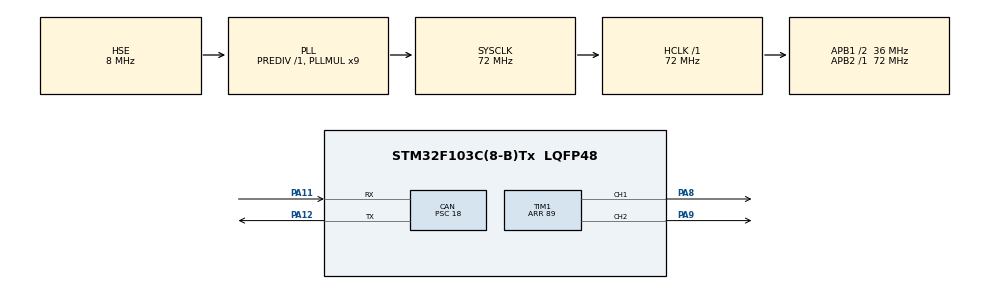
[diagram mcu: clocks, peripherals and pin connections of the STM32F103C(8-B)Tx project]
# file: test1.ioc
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CAN.BS1=CAN_BS1_2TQ
CAN.CalculateBaudRate=500000
CAN.CalculateTimeBit=2000
CAN.CalculateTimeQuantum=500.0
CAN.Prescaler=18
Dma.Request0=TIM1_CH1
Dma.Request1=TIM1_CH2
Dma.TIM1_CH1.0.Direction=DMA_MEMORY_TO_PERIPH
Dma.TIM1_CH1.0.Instance=DMA1_Channel2
Dma.TIM1_CH1.0.MemDataAlignment=DMA_MDATAALIGN_HALFWORD
Dma.TIM1_CH1.0.MemInc=DMA_MINC_ENABLE
Dma.TIM1_CH1.0.Mode=DMA_NORMAL
Dma.TIM1_CH1.0.PeriphDataAlignment=DMA_PDATAALIGN_HALFWORD
Dma.TIM1_CH1.0.PeriphInc=DMA_PINC_DISABLE
Dma.TIM1_CH1.0.Priority=DMA_PRIORITY_LOW
Dma.TIM1_CH2.1.Direction=DMA_MEMORY_TO_PERIPH
Dma.TIM1_CH2.1.Instance=DMA1_Channel3
Dma.TIM1_CH2.1.MemDataAlignment=DMA_MDATAALIGN_HALFWORD
Dma.TIM1_CH2.1.MemInc=DMA_MINC_ENABLE
Dma.TIM1_CH2.1.Mode=DMA_NORMAL
Dma.TIM1_CH2.1.PeriphDataAlignment=DMA_PDATAALIGN_HALFWORD
Dma.TIM1_CH2.1.PeriphInc=DMA_PINC_DISABLE
Dma.TIM1_CH2.1.Priority=DMA_PRIORITY_LOW
Mcu.Family=STM32F1
Mcu.Name=STM32F103C(8-B)Tx
Mcu.Package=LQFP48
NVIC.CAN1_RX1_IRQn=true\:1\:0\:true\:false\:true\:true\:true\:true
NVIC.DMA1_Channel2_IRQn=true\:0\:0\:false\:false\:true\:false\:true\:true
NVIC.DMA1_Channel3_IRQn=true\:0\:0\:false\:false\:true\:false\:true\:true
NVIC.PriorityGroup=NVIC_PRIORITYGROUP_4
NVIC.TIM2_IRQn=true\:0\:0\:false\:false\:true\:true\:true\:true
PA11.Mode=CAN_Activate
PA11.Signal=CAN_RX
PA12.Mode=CAN_Activate
PA12.Signal=CAN_TX
PA13.Mode=Serial_Wire
PA13.Signal=SYS_JTMS-SWDIO
PA14.Mode=Serial_Wire
PA14.Signal=SYS_JTCK-SWCLK
PA8.Signal=S_TIM1_CH1
PA9.Signal=S_TIM1_CH2
PD0-OSC_IN.Mode=HSE-External-Oscillator
PD0-OSC_IN.Signal=RCC_OSC_IN
PD1-OSC_OUT.Mode=HSE-External-Oscillator
PD1-OSC_OUT.Signal=RCC_OSC_OUT
ProjectManager.HeapSize=0x200
ProjectManager.StackSize=0x400
ProjectManager.TargetToolchain=MDK-ARM V5.32
RCC.AHBFreq_Value=72000000
RCC.APB1CLKDivider=RCC_HCLK_DIV2
RCC.APB1Freq_Value=36000000
RCC.APB1TimFreq_Value=72000000
RCC.APB2Freq_Value=72000000
RCC.APB2TimFreq_Value=72000000
RCC.HCLKFreq_Value=72000000
RCC.PLLMUL=RCC_PLL_MUL9
RCC.PLLSourceVirtual=RCC_PLLSOURCE_HSE
RCC.SYSCLKFreq_VALUE=72000000
RCC.SYSCLKSource=RCC_SYSCLKSOURCE_PLLCLK
RCC.USBFreq_Value=72000000
SH.S_TIM1_CH1.0=TIM1_CH1,PWM Generation1 CH1
SH.S_TIM1_CH2.0=TIM1_CH2,PWM Generation2 CH2
TIM1.Channel-PWM\ Generation1\ CH1=TIM_CHANNEL_1
TIM1.Channel-PWM\ Generation2\ CH2=TIM_CHANNEL_2
TIM1.Period=89
TIM2.Period=999
TIM2.Prescaler=7199
VP_TIM1_VS_ClockSourceINT.Mode=Internal
VP_TIM2_VS_ClockSourceINT.Mode=Internal
board=custom

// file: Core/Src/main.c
/* USER CODE BEGIN Header */
/**
  ******************************************************************************
  * @file           : main.c
  * @brief          : Main program body
  ******************************************************************************
  * @attention
  *
  * Copyright (c) 2024 STMicroelectronics.
  * All rights reserved.
  *
  * This software is licensed under terms that can be found in the LICENSE file
  * in the root directory of this software component.
  * If no LICENSE file comes with this software, it is provided AS-IS.
  *
  ******************************************************************************
  */
/* USER CODE END Header */
#include "main.h"

/* USER CODE BEGIN Includes */
#include "math.h"
#include "flash.h"
/* USER CODE END Includes */

/* USER CODE BEGIN PD */
#define PI 3.14159265
#define MAX_LED 350
#define MAX_LED1 300
#define MAX_LED2 50
/* USER CODE END PD */

CAN_HandleTypeDef hcan;

TIM_HandleTypeDef htim1;
TIM_HandleTypeDef htim2;
DMA_HandleTypeDef hdma_tim1_ch1;
DMA_HandleTypeDef hdma_tim1_ch2;

void SystemClock_Config(void);
static void MX_GPIO_Init(void);
static void MX_DMA_Init(void);
static void MX_TIM1_Init(void);
static void MX_CAN_Init(void);
static void MX_TIM2_Init(void);

/* USER CODE BEGIN 0 */
uint8_t LED_Data[MAX_LED][4];
uint16_t pwmData1[(24*MAX_LED1)+40]; 			// front_left, front_right, right, back_right, back, back_left, left
uint16_t pwmData2[(24*MAX_LED2)+40];			// flag
uint8_t numLEDs[8];
uint8_t data[8];
volatile uint8_t datasentflag1=0, datasentflag2=0;
uint16_t effStep[8] = {0,0,0,0,0,0,0};
uint8_t color_Manual[3]={3,221,255}, color_Auto[3]={0,255,0}, color_Turn[3]={255,192,0},color1[3] ={255,165,0}, color_Error[3]={255,0,0}, color_Off[3]={0,0,0}, color_White[3]={255,255,255};
void HAL_TIM_PWM_PulseFinishedCallback(TIM_HandleTypeDef *htim){
  if (htim->Instance == TIM1)
  {
    if (htim->Channel == HAL_TIM_ACTIVE_CHANNEL_1)
    {
      HAL_TIM_PWM_Stop_DMA(&htim1, TIM_CHANNEL_1);
      datasentflag1= 1;
    }
		/*if (htim->Channel == HAL_TIM_ACTIVE_CHANNEL_2)
    {
      HAL_TIM_PWM_Stop_DMA(&htim1, TIM_CHANNEL_2);
      datasentflag2= 1;
    }*/
	}
}

void Set_LED(int LEDnum, int Red, int Green, int Blue){
	LED_Data[LEDnum][0] = LEDnum;
	LED_Data[LEDnum][1] = Green;
	LED_Data[LEDnum][2] = Red;
	LED_Data[LEDnum][3] = Blue;
}
void WS2812_Send(){
	uint32_t indx1=0;//, indx2=0;
	uint32_t color;
	uint16_t num_led =0;
	for (int i = 0; i < 7; i++) num_led += numLEDs[i];
	for (int i = 0; i<MAX_LED1; i++)
	//for (int i = 0; i<num_led; i++)
	{
		color = ((LED_Data[i][1]<<16) | (LED_Data[i][2]<<8) | (LED_Data[i][3]));
		for (int j=0; j<24; j++)
		{
			if ((color >> (23 - j)) & 1)
			{
				pwmData1[indx1] = 60;  // 2/3 of 90
			}
			else pwmData1[indx1] = 30;  // 1/3 of 90
			indx1++;
		}
	}
	/*for (int i = 0;i < numLEDs[7]; i++){
		color = ((LED_Data[i+num_led][1]<<16) | (LED_Data[i+num_led][2]<<8) | (LED_Data[i+num_led][3]));
		for (int j=0; j<24; j++)
		{
			if ((color >> (23 - j)) & 1)
			{
				pwmData2[indx2] = 60;  // 2/3 of 90
			}
			else pwmData2[indx2] = 30;  // 1/3 of 90
			indx2++;
		}
	}*/
	for (int i=0; i<40; i++)
	{
		pwmData1[indx1] = 0;
		//pwmData2[indx2] = 0;
		indx1++;
		//indx2++;
	}

	HAL_TIM_PWM_Start_DMA(&htim1, TIM_CHANNEL_1, (uint32_t *)pwmData1, indx1);
	//HAL_TIM_PWM_Start_DMA(&htim1, TIM_CHANNEL_2, (uint32_t *)pwmData2, indx2);
	while (!(datasentflag1 /*& datasentflag2*/)){};
	datasentflag1 = 0;
	//datasentflag2 = 0;
}

void Solid(uint8_t strip, uint8_t color[3]){
	uint16_t i = 0;
	for (uint8_t j = 0 ; j <strip; j++) i += numLEDs[j];
	for (uint16_t k = i; k < (i + numLEDs[strip]); k++) Set_LED(k,color[0],color[1],color[2]);
}
uint8_t Rainbow(uint8_t strip) {
    // Strip ID: 0 - Effect: Rainbow - LEDS: numLEDs[strip]
    // Steps: numLEDs[strip] - Delay: 20
    // Colors: 3 (255.0.0, 0.255.0, 0.0.255)
    // Options: rainbowlen=numLEDs[strip], toLeft=true,

    float factor1, factor2;
    uint16_t ind;
		uint16_t i = 0;
		for (uint8_t j = 0 ; j <strip; j++) i += numLEDs[j];
    for (uint16_t j = i; j < (i + numLEDs[strip]); j++) {
        ind = effStep[strip] + j * 1;
        switch ((int)((ind % numLEDs[strip]) / (numLEDs[strip] / 3))) {
        case 0:
            factor1 = 1.0 - ((float)(ind % numLEDs[strip] - 0 * (numLEDs[strip] / 3)) / (numLEDs[strip] / 3));
            factor2 = (float)((int)(ind - 0) % numLEDs[strip]) / (numLEDs[strip] / 3);
            Set_LED(j, 255 * factor1 + 0 * factor2, 0 * factor1 + 255 * factor2, 0 * factor1 + 0 * factor2);
            break;
        case 1:
            factor1 = 1.0 - ((float)(ind % numLEDs[strip] - 1 * (numLEDs[strip] / 3)) / (numLEDs[strip] / 3));
            factor2 = (float)((int)(ind - (numLEDs[strip] / 3)) % numLEDs[strip]) / (numLEDs[strip] / 3);
            Set_LED(j, 0 * factor1 + 0 * factor2, 255 * factor1 + 0 * factor2, 0 * factor1 + 255 * factor2);
            break;
        case 2:
            factor1 = 1.0 - ((float)(ind % numLEDs[strip] - 2 * (numLEDs[strip] / 3)) / (numLEDs[strip] / 3));
            factor2 = (float)((int)(ind - 2 * (numLEDs[strip] / 3)) % numLEDs[strip]) / (numLEDs[strip] / 3);
            Set_LED(j, 0 * factor1 + 255 * factor2, 0 * factor1 + 0 * factor2, 255 * factor1 + 0 * factor2);
            break;
        }
    }
    if (effStep[strip] >= numLEDs[strip]) {
        effStep[strip] = 0;
        return 0x03;
    } else
        effStep[strip]++;
    return 0x01;
}
uint8_t Pulse(uint8_t strip, uint8_t step, uint8_t color[3]) {
	uint16_t i = 0;
	for (uint8_t j = 0 ; j <strip; j++) i += numLEDs[j];
	for (uint16_t j = i; j < (i + numLEDs[strip]); j++) 	Set_LED(j,(uint8_t) color[0]*tan(effStep[strip]*PI/4000), (uint8_t)color[1]*tan(effStep[strip]*PI/4000), (uint8_t)color[2]*tan(effStep[strip]*PI/4000));
	if(effStep[strip]  >= 1000) {effStep[strip] = 0; return 0x03; }
	else effStep[strip] += 5;
  return 0x01;
}
uint8_t Blink(uint8_t strip, uint16_t timOn, uint16_t timOff, uint8_t color1[3], uint8_t color2[3]) {
	uint16_t i = 0;
	for (uint8_t j = 0 ; j <strip; j++) i += numLEDs[j];
  if(effStep[strip] < (timOn*8/100)) {
    for (uint16_t j = i; j < (i + numLEDs[strip]); j++)
      Set_LED(j, color1[0], color1[1], color1[2]);
  }																															//1000ms corresponds to about 80 steps
  else {
    for (uint16_t j = i; j < (i + numLEDs[strip]); j++)
      Set_LED(j, color2[0], color2[1], color2[2]);
  }
  if(effStep[strip] >= (timOn+timOff)*12/100) {effStep[strip] = 0; return 0x03; }
  else effStep[strip]++;
  return 0x01;
}
void Wheel(uint16_t num, uint8_t WheelPos){
  WheelPos = 255 - WheelPos;
  if (WheelPos < 85)
  {
    Set_LED(num,255 - WheelPos * 3, 0, WheelPos * 3);
  }
  else if (WheelPos < 170)
  {
    WheelPos -= 85;
    Set_LED(num,0, WheelPos * 3, 255 - WheelPos * 3);
  }
  else
  {
    WheelPos -= 170;
    Set_LED(num,WheelPos * 3, 255 - WheelPos * 3, 0);
  }
}
uint8_t colorCycle(uint8_t strip){
	uint16_t i = 0;
	for (uint8_t j = 0 ; j <strip; j++) i += numLEDs[j];
  for (uint16_t j = i; j < (i + numLEDs[strip]); j++){
		Wheel(j,numLEDs[strip]+effStep[strip]);
  }
	if(effStep[strip] >= 256) {effStep[strip] = 0; return 0x03; }
  else effStep[strip]++;
  return 0x01;
}

uint8_t Turn_Right(uint8_t strip, uint8_t color[3]){
  uint16_t i = 0;
	for (uint8_t j = 0 ; j <strip; j++) i += numLEDs[j];
  for (uint16_t j = i; j < (i + numLEDs[strip]); j++)
  {
		if (j-i < effStep[strip])	Set_LED(j,0,0,0);
		else	Set_LED(j,color[0],color[1],color[2]);
  }
	if(effStep[strip] > numLEDs[strip]) {effStep[strip] = 0; return 0x03; }
  else effStep[strip]+=1;
  return 0x01;
}
uint8_t Turn_Left(uint8_t strip, uint8_t color[3]){
  uint16_t i = 0;
	for (uint8_t j = 0 ; j <strip; j++) i += numLEDs[j];
  for (uint16_t j = (i+numLEDs[strip]-1); j >=i; j--)
  {
		if (i+numLEDs[strip]-j-1 < effStep[strip])	Set_LED(j,0,0,0);
		else	Set_LED(j,color[0],color[1],color[2]);
  }
	if(effStep[strip] >= numLEDs[strip]) {effStep[strip] = 0; return 0x03; }
  else effStep[strip]+=1;
  return 0x01;
}
uint8_t Comet(uint8_t strip, uint8_t len, uint8_t color[3]){
	uint16_t i = 0;
	for (uint8_t j = 0 ; j <strip; j++) i += numLEDs[j];
	for (uint16_t j = i; j < (i + numLEDs[strip]); j++){
		if ((j-i)>=  (effStep[strip]-len) && (j-i)<(effStep[strip])) Set_LED(j,color[0],color[1],color[2]);
    else if ((j-i)>= (effStep[strip]-len-15) && (j-i)<(effStep[strip]-len)) Set_LED(j,(uint8_t) color[0]*(j-i-effStep[strip]+len+15)/28, (uint8_t)color[1]*(j-i-effStep[strip]+len+15)/28, (uint8_t)color[2]*(j-i-effStep[strip]+len+15)/28);
		else Set_LED(j,0,0,0);
	}
	if(effStep[strip]  > numLEDs[strip]) {effStep[strip] = 0; return 0x03;}
	else effStep[strip]++;
  return 0x01;
}
void animation(uint16_t mode){
  if((mode >> 8) == 0){
    if (((mode & 0x000C)>>2)==0){ //Off
      for(uint8_t i=0;i<8;i++) Solid(i,color_Off);
    }
    else if (((mode & 0x000C)>>2)==1){  //Auto
      if((mode & 0x0003)==0){   //Normal
        /*Solid(0,color_White); Solid(1,color_White); Solid(3,color_White); Solid(5,color_White);
				Solid(2,color_Auto); Solid(4,color_Auto); Solid(6,color_Auto); Solid(7,color_Auto);*/
				for (int i = 0; i < 8; i++) Solid(i,color_Auto);
      }
      else if((mode & 0x0003)==1){   //Left
        Blink(0,300,300,color_Turn,color_Auto); Solid(1,color_Auto); Solid(2,color_Auto); Solid(3,color_Auto);
				Turn_Left(4,color_Auto); Blink(5,300,300,color_Turn,color_Auto); Blink(6,300,300,color_Turn,color_Auto); Solid(7,color_Auto);
      }
      else if((mode & 0x0003)==2){   //Right
        Solid(0,color_Auto); Blink(1,300,300,color_Turn,color_Auto); Blink(2,300,300,color_Turn,color_Auto); Blink(3,300,300,color_Turn,color_Auto);
				Turn_Right(4,color_Auto); Solid(5,color_Auto); Solid(6,color_Auto); Solid(7,color_Auto);
      }
      else if((mode & 0x0003)==3){   //Error
        for(uint8_t i=0;i<8;i++) Blink(i,300,300,color_Error,color_Auto);
      }
    }
    else if (((mode & 0x000C)>>2)==2){  //Manual
      if((mode & 0x0003)==0){   //Normal
        /*Solid(0,color_White); Solid(1,color_White); Solid(3,color_White); Solid(5,color_White);
				Solid(2,color_Manual); Solid(4,color_Manual); Solid(6,color_Manual); Solid(7,color_Manual);*/
				for (int i = 0; i < 8; i++) Solid(i,color_Manual);
      }
      else if((mode & 0x0003)==1){   //Left
        Blink(0,300,300,color_Turn,color_Manual); Solid(1,color_Manual); Solid(2,color_Manual); Solid(3,color_Manual); Turn_Left(4,color_Manual);
				Blink(5,300,300,color_Turn,color_Manual); Blink(6,300,300,color_Turn,color_Manual); Solid(7,color_Manual);
      }
      else if((mode & 0x0003)==2){   //Right
        Solid(0,color_Manual); Blink(1,300,300,color_Turn,color_Manual); Blink(2,300,300,color_Turn,color_Manual); Blink(3,300,300,color_Turn,color_Manual);
				Turn_Right(4,color_Manual); Solid(5,color_Manual); Solid(6,color_Manual); Solid(7,color_Manual);
      }
      else if((mode & 0x0003)==3){   //Error
        for(uint8_t i=0;i<8;i++) Blink(i,300,300,color_Error,color_Manual);
      }
    }
    else if (((mode&0x000C)>>2)==3){  //Solid
      Solid(4,color_White);  Solid(7,color_White);
      if((mode & 0x0003)==0){   //Normal
				for (int i = 0; i < 8; i++) Solid(i,color_White);
      }
      else if((mode & 0x0003)==1){   //Left
        Blink(0,300,300,color_Turn,color_White); Solid(1,color_White); Solid(2,color_White); Solid(3,color_White); Turn_Left(4, color_White);
        Blink(5,300,300,color_Turn,color_White); Blink(6,300,300,color_Turn,color_White); Solid(7,color_White);
      }
      else if((mode & 0x0003)==2){   //Right
        Solid(0,color_White); Blink(1,300,300,color_Turn,color_White); Blink(2,300,300,color_Turn,color_White); Blink(3,300,300,color_Turn,color_White);
				Turn_Right(4, color_White); Solid(5,color_White); Solid(6,color_White); Solid(7,color_White);
      }
      else if((mode & 0x0003)==3){   //Error
        for(uint8_t i=0;i<8;i++) Blink(i,300,300,color_Error,color_White);
      }
    }
  }
  else if((mode >> 8)==1 && ((mode & 0x000C)>>2)==3){  //Custom1: Pulse
    ////Pulse(4,1,color_White); Pulse(7,1,color_White);
      if((mode & 0x0003)==0){   //Normal
        for (int i = 0; i < 8; i++) Pulse(i,1,color_White);
      }
      else if((mode & 0x0003)==1){   //Left
        Blink(0,100,100,color_Turn,color_White); Pulse(1,1,color_White); Pulse(2,1,color_White); Pulse(3,1,color_White);
				Pulse(4,1,color_White); Blink(5,100,100,color_Turn,color_White); Blink(6,100,100,color_Turn,color_White); Pulse(7,1,color_White);
      }
      else if((mode & 0x0003)==2){   //Right
        Pulse(0,1,color_White); Blink(1,100,100,color_Turn,color_White); Blink(2,100,100,color_Turn,color_White); Blink(3,100,100,color_Turn,color_White);
				Pulse(4,1,color_White); Pulse(5,1,color_White); Pulse(6,1,color_White); Pulse(7,1,color_White);
      }
      else if((mode & 0x0003)==3){   //Error
        Blink(0,100,100,color_Error,color_Off); Blink(1,100,100,color_Error,color_Off); Pulse(2,1,color_White); Blink(3,100,100,color_Error,color_Off);
				Pulse(4,1,color_White); Blink(5,100,100,color_Error,color_Off); Pulse(6,1,color_White); Blink(7,100,100,color_Error,color_Off);
      }
  }
  else if((mode >> 8) == 2 && ((mode & 0x000C)>>2)==3){  //Custom2: Rainbow
    Rainbow(4);
      if((mode & 0x0003)==0){   //Normal
        Solid(0,color_White); Solid(1,color_White); Rainbow(2); Solid(3,color_White);
        Solid(5,color_White); Rainbow(6); Rainbow(7);
      }
      else if((mode & 0x0003)==1){   //Left
        Blink(0,300,300,color_Turn,color_White); Solid(1,color_White); Rainbow(2); Solid(3,color_White);
        Blink(5,300,300,color_Turn,color_White); Blink(6,300,300,color_Turn,color_White); Rainbow(7);
      }
      else if((mode & 0x0003)==2){   //Right
        Solid(0,color_White); Blink(1,300,300,color_Turn,color_White); Blink(2,300,300,color_Turn,color_White); Blink(3,300,300,color_Turn,color_White);
        Solid(5,color_White); Rainbow(6); Rainbow(7);
      }
      else if((mode & 0x0003)==3){   //Error
        Blink(0,300,300,color_Error,color_Off); Blink(1,300,300,color_Error,color_Off); Rainbow(2);
        Blink(3,300,300,color_Error,color_Off); Blink(5,300,300,color_Error,color_Off); Rainbow(6); Blink(7,300,300,color_Error,color_Off);
      }
  }
  else if((mode >> 8) == 3 && ((mode & 0x000C)>>2)==3){  //Custom3: ColorCycle
    colorCycle(4);
      if((mode & 0x0003)==0){   //Normal
        Solid(0,color_White); Solid(1,color_White); colorCycle(2); Solid(3,color_White);
        Solid(5,color_White); colorCycle(6); colorCycle(7);
      }
      else if((mode & 0x0003)==1){   //Left
        Blink(0,300,300,color_Turn,color_White); Solid(1,color_White); colorCycle(2); Solid(3,color_White);
        Blink(5,300,300,color_Turn,color_White); Blink(6,300,300,color_Turn,color_White); colorCycle(7);
      }
      else if((mode & 0x0003)==2){   //Right
        Solid(0,color_White); Blink(1,300,300,color_Turn,color_White); Blink(2,300,300,color_Turn,color_White); Blink(3,300,300,color_Turn,color_White);
        Solid(5,color_White); colorCycle(6); colorCycle(7);
      }
      else if((mode & 0x0003)==3){   //Error
        Blink(0,300,300,color_Error,color_White); Blink(1,300,300,color_Error,color_White); colorCycle(2);
        Blink(3,300,300,color_Error,color_White); Blink(5,300,300,color_Error,color_White); colorCycle(6);  Blink(7,300,300,color_Error,color_White);
      }
  }
  else if((mode >> 8) == 4 && ((mode & 0x000C)>>2)==3){  //Custom4: Blink
    Blink(4,300,300,color_White,color_Off);
		if((mode & 0x0003)==0){   //Normal
        Solid(0,color_White); Solid(1,color_White); Blink(2,300,300,color_White,color_Off); Solid(3,color_White);
        Solid(5,color_White); Blink(6,300,300,color_White,color_Off); Blink(7,300,300,color_White,color_Off);
      }
      else if((mode & 0x0003)==1){   //Left
        Blink(0,300,300,color_Turn,color_Off); Solid(1,color_White); Blink(2,300,300,color_White,color_Off); Solid(3,color_White);
        Blink(5,300,300,color_Turn,color_Off); Blink(6,300,300,color_Turn,color_Off); Blink(7,300,300,color_White,color_Off);
      }
      else if((mode & 0x0003)==2){   //Right
        Solid(0,color_White); Blink(1,300,300,color_Turn,color_Off); Blink(2,300,300,color_Turn,color_Off); Blink(3,300,300,color_Turn,color_Off);
        Solid(5,color_White); Blink(6,300,300,color_White,color_Off); Blink(7,300,300,color_White,color_Off);
      }
      else if((mode & 0x0003)==3){   //Error
        Blink(0,300,300,color_Error,color_Off); Blink(1,300,300,color_Error,color_Off); Blink(2,300,300,color_White,color_Off);
        Blink(3,300,300,color_Error,color_Off); Blink(5,300,300,color_Error,color_Off); Blink(6,300,300,color_White,color_Off); Blink(7,300,300,color_Error,color_Off);
      }
  }
	else if((mode >> 8) == 5 && ((mode & 0x000C)>>2)==3){  //Custom5: Comet
    Comet(4,1,color_White);
		if((mode & 0x0003)==0){   //Normal
        Solid(0,color_White); Solid(1,color_White); Comet(2,1,color_White); Solid(3,color_White);
        Solid(5,color_White); Comet(6,1,color_White); Comet(7,1,color_White);
      }
      else if((mode & 0x0003)==1){   //Left
        Blink(0,300,300,color_Turn,color_Off); Solid(1,color_White); Comet(2,1,color_White); Solid(3,color_White);
        Blink(5,300,300,color_Turn,color_Off); Blink(6,300,300,color_Turn,color_Off); Comet(7,1,color_White);
      }
      else if((mode & 0x0003)==2){   //Right
        Solid(0,color_White); Blink(1,300,300,color_Turn,color_Off); Blink(2,300,300,color_Turn,color_Off); Blink(3,300,300,color_Turn,color_Off);
        Solid(5,color_White); Comet(6,1,color_White); Comet(7,1,color_White);
      }
      else if((mode & 0x0003)==3){   //Error
        Blink(0,300,300,color_Error,color_Off); Blink(1,300,300,color_Error,color_Off); Comet(2,1,color_White);
        Blink(3,300,300,color_Error,color_Off); Blink(5,300,300,color_Error,color_Off); Comet(6,1,color_White); Blink(7,300,300,color_Error,color_Off);
      }
  }
	else for(uint8_t i=0;i<8;i++) Solid(i,color_Off);
}
CAN_TxHeaderTypeDef TxHeader1, TxHeader2;
CAN_RxHeaderTypeDef RxHeader;

uint8_t TxData1[8];
uint8_t TxData2[8];
uint8_t RxData[8];

uint32_t TxMailbox1, TxMailbox2;
uint16_t mode=0, pre_mode=0;
int datacheck = 0;
void HAL_CAN_RxFifo1MsgPendingCallback(CAN_HandleTypeDef *hcan){
	HAL_CAN_GetRxMessage(hcan, CAN_RX_FIFO1, &RxHeader, RxData);
	if (RxHeader.DLC == 2 && RxHeader.ExtId == 0x0000012A){
		for(uint8_t i=0;i<2;i++) data[i]=RxData[i];
		datacheck = 1;
	}
	else if (RxHeader.DLC == 8 && RxHeader.ExtId == 0x0000022A)	datacheck = 2;
}

void HAL_TIM_PeriodElapsedCallback(TIM_HandleTypeDef *htim)		// The program serves the TIM9 interrupt
{
	if (htim->Instance == TIM2)
	{
			for(uint8_t i=0;i<2;i++) TxData1[i]=data[i];
			for(uint8_t i=0;i<8;i++) TxData2[i]=numLEDs[i];
			HAL_CAN_AddTxMessage(&hcan, &TxHeader1, TxData1, &TxMailbox1);
			HAL_CAN_AddTxMessage(&hcan, &TxHeader2, TxData2, &TxMailbox2);
	}
}
/* USER CODE END 0 */

int main(void)
{

  /* MCU Configuration--------------------------------------------------------*/

  /* Reset of all peripherals, Initializes the Flash interface and the Systick. */
  HAL_Init();

  /* Configure the system clock */
  SystemClock_Config();

  /* Initialize all configured peripherals */
  MX_GPIO_Init();
  MX_DMA_Init();
  MX_TIM1_Init();
  MX_CAN_Init();
  MX_TIM2_Init();
  /* USER CODE BEGIN 2 */
	HAL_CAN_Start(&hcan);

  HAL_CAN_ActivateNotification(&hcan, CAN_IT_RX_FIFO1_MSG_PENDING);

	TxHeader1.DLC = 2;
  TxHeader1.IDE = CAN_ID_EXT;
  TxHeader1.RTR = CAN_RTR_DATA;
  TxHeader1.ExtId = 0x00102A;

	TxHeader2.DLC = 8;
  TxHeader2.IDE = CAN_ID_EXT;
  TxHeader2.RTR = CAN_RTR_DATA;
  TxHeader2.ExtId = 0x00112A;

	Flash_Read_String(numLEDs,_PAGE_127_,8);
	HAL_TIM_Base_Start_IT(&htim2);
  /* USER CODE END 2 */

  /* Infinite loop */
  while (1)
  {

    /* USER CODE BEGIN 3 */
		if (datacheck == 1){
			mode = (RxData[1] << 8) | RxData[0];
			if (mode != pre_mode) {
				for(uint8_t i=0;i<8;i++) effStep[i]=0;
				pre_mode = mode;
			}
			datacheck = 0;
		}
		else if (datacheck == 2){
			Flash_Write_String(RxData,_PAGE_127_,8);
			Flash_Read_String(numLEDs,_PAGE_127_,8);
			datacheck = 0;
		}
		animation(mode);
		WS2812_Send();

  }
  /* USER CODE END 3 */
}

void SystemClock_Config(void)
{
  RCC_OscInitTypeDef RCC_OscInitStruct = {0};
  RCC_ClkInitTypeDef RCC_ClkInitStruct = {0};

  /** Initializes the RCC Oscillators according to the specified parameters
  * in the RCC_OscInitTypeDef structure.
  */
  RCC_OscInitStruct.OscillatorType = RCC_OSCILLATORTYPE_HSE;
  RCC_OscInitStruct.HSEState = RCC_HSE_ON;
  RCC_OscInitStruct.HSEPredivValue = RCC_HSE_PREDIV_DIV1;
  RCC_OscInitStruct.HSIState = RCC_HSI_ON;
  RCC_OscInitStruct.PLL.PLLState = RCC_PLL_ON;
  RCC_OscInitStruct.PLL.PLLSource = RCC_PLLSOURCE_HSE;
  RCC_OscInitStruct.PLL.PLLMUL = RCC_PLL_MUL9;
  if (HAL_RCC_OscConfig(&RCC_OscInitStruct) != HAL_OK)
  {
    Error_Handler();
  }

  /** Initializes the CPU, AHB and APB buses clocks
  */
  RCC_ClkInitStruct.ClockType = RCC_CLOCKTYPE_HCLK|RCC_CLOCKTYPE_SYSCLK
                              |RCC_CLOCKTYPE_PCLK1|RCC_CLOCKTYPE_PCLK2;
  RCC_ClkInitStruct.SYSCLKSource = RCC_SYSCLKSOURCE_PLLCLK;
  RCC_ClkInitStruct.AHBCLKDivider = RCC_SYSCLK_DIV1;
  RCC_ClkInitStruct.APB1CLKDivider = RCC_HCLK_DIV2;
  RCC_ClkInitStruct.APB2CLKDivider = RCC_HCLK_DIV1;

  if (HAL_RCC_ClockConfig(&RCC_ClkInitStruct, FLASH_LATENCY_2) != HAL_OK)
  {
    Error_Handler();
  }
}

static void MX_CAN_Init(void)
{

  hcan.Instance = CAN1;
  hcan.Init.Prescaler = 18;
  hcan.Init.Mode = CAN_MODE_NORMAL;
  hcan.Init.SyncJumpWidth = CAN_SJW_1TQ;
  hcan.Init.TimeSeg1 = CAN_BS1_2TQ;
  hcan.Init.TimeSeg2 = CAN_BS2_1TQ;
  hcan.Init.TimeTriggeredMode = DISABLE;
  hcan.Init.AutoBusOff = DISABLE;
  hcan.Init.AutoWakeUp = DISABLE;
  hcan.Init.AutoRetransmission = DISABLE;
  hcan.Init.ReceiveFifoLocked = DISABLE;
  hcan.Init.TransmitFifoPriority = DISABLE;
  if (HAL_CAN_Init(&hcan) != HAL_OK)
  {
    Error_Handler();
  }
  /* USER CODE BEGIN CAN_Init 2 */
	CAN_FilterTypeDef canfilterconfig;

  canfilterconfig.FilterActivation = CAN_FILTER_ENABLE;
  canfilterconfig.FilterBank = 10;  // which filter bank to use from the assigned ones
  canfilterconfig.FilterFIFOAssignment = CAN_FILTER_FIFO1;
  canfilterconfig.FilterIdHigh = 0x0000;
  canfilterconfig.FilterIdLow = 0x0954;					// ID: 0x0000012A   (ID+IDE+RTR+0)
  canfilterconfig.FilterMaskIdHigh = 0xFFFF;
  canfilterconfig.FilterMaskIdLow = 0xE7FF;
  canfilterconfig.FilterMode = CAN_FILTERMODE_IDMASK;
  canfilterconfig.FilterScale = CAN_FILTERSCALE_32BIT;
  canfilterconfig.SlaveStartFilterBank = 14;  // doesn't matter in single can controllers

  HAL_CAN_ConfigFilter(&hcan, &canfilterconfig);
  /* USER CODE END CAN_Init 2 */

}

static void MX_TIM1_Init(void)
{

  TIM_ClockConfigTypeDef sClockSourceConfig = {0};
  TIM_MasterConfigTypeDef sMasterConfig = {0};
  TIM_OC_InitTypeDef sConfigOC = {0};
  TIM_BreakDeadTimeConfigTypeDef sBreakDeadTimeConfig = {0};

  htim1.Instance = TIM1;
  htim1.Init.Prescaler = 0;
  htim1.Init.CounterMode = TIM_COUNTERMODE_UP;
  htim1.Init.Period = 89;
  htim1.Init.ClockDivision = TIM_CLOCKDIVISION_DIV1;
  htim1.Init.RepetitionCounter = 0;
  htim1.Init.AutoReloadPreload = TIM_AUTORELOAD_PRELOAD_DISABLE;
  if (HAL_TIM_Base_Init(&htim1) != HAL_OK)
  {
    Error_Handler();
  }
  sClockSourceConfig.ClockSource = TIM_CLOCKSOURCE_INTERNAL;
  if (HAL_TIM_ConfigClockSource(&htim1, &sClockSourceConfig) != HAL_OK)
  {
    Error_Handler();
  }
  if (HAL_TIM_PWM_Init(&htim1) != HAL_OK)
  {
    Error_Handler();
  }
  sMasterConfig.MasterOutputTrigger = TIM_TRGO_RESET;
  sMasterConfig.MasterSlaveMode = TIM_MASTERSLAVEMODE_DISABLE;
  if (HAL_TIMEx_MasterConfigSynchronization(&htim1, &sMasterConfig) != HAL_OK)
  {
    Error_Handler();
  }
  sConfigOC.OCMode = TIM_OCMODE_PWM1;
  sConfigOC.Pulse = 0;
  sConfigOC.OCPolarity = TIM_OCPOLARITY_HIGH;
  sConfigOC.OCNPolarity = TIM_OCNPOLARITY_HIGH;
  sConfigOC.OCFastMode = TIM_OCFAST_DISABLE;
  sConfigOC.OCIdleState = TIM_OCIDLESTATE_RESET;
  sConfigOC.OCNIdleState = TIM_OCNIDLESTATE_RESET;
  if (HAL_TIM_PWM_ConfigChannel(&htim1, &sConfigOC, TIM_CHANNEL_1) != HAL_OK)
  {
    Error_Handler();
  }
  if (HAL_TIM_PWM_ConfigChannel(&htim1, &sConfigOC, TIM_CHANNEL_2) != HAL_OK)
  {
    Error_Handler();
  }
  sBreakDeadTimeConfig.OffStateRunMode = TIM_OSSR_DISABLE;
  sBreakDeadTimeConfig.OffStateIDLEMode = TIM_OSSI_DISABLE;
  sBreakDeadTimeConfig.LockLevel = TIM_LOCKLEVEL_OFF;
  sBreakDeadTimeConfig.DeadTime = 0;
  sBreakDeadTimeConfig.BreakState = TIM_BREAK_DISABLE;
  sBreakDeadTimeConfig.BreakPolarity = TIM_BREAKPOLARITY_HIGH;
  sBreakDeadTimeConfig.AutomaticOutput = TIM_AUTOMATICOUTPUT_DISABLE;
  if (HAL_TIMEx_ConfigBreakDeadTime(&htim1, &sBreakDeadTimeConfig) != HAL_OK)
  {
    Error_Handler();
  }
  HAL_TIM_MspPostInit(&htim1);

}

static void MX_TIM2_Init(void)
{

  TIM_ClockConfigTypeDef sClockSourceConfig = {0};
  TIM_MasterConfigTypeDef sMasterConfig = {0};

  htim2.Instance = TIM2;
  htim2.Init.Prescaler = 7199;
  htim2.Init.CounterMode = TIM_COUNTERMODE_UP;
  htim2.Init.Period = 999;
  htim2.Init.ClockDivision = TIM_CLOCKDIVISION_DIV1;
  htim2.Init.AutoReloadPreload = TIM_AUTORELOAD_PRELOAD_DISABLE;
  if (HAL_TIM_Base_Init(&htim2) != HAL_OK)
  {
    Error_Handler();
  }
  sClockSourceConfig.ClockSource = TIM_CLOCKSOURCE_INTERNAL;
  if (HAL_TIM_ConfigClockSource(&htim2, &sClockSourceConfig) != HAL_OK)
  {
    Error_Handler();
  }
  sMasterConfig.MasterOutputTrigger = TIM_TRGO_RESET;
  sMasterConfig.MasterSlaveMode = TIM_MASTERSLAVEMODE_DISABLE;
  if (HAL_TIMEx_MasterConfigSynchronization(&htim2, &sMasterConfig) != HAL_OK)
  {
    Error_Handler();
  }

}

static void MX_DMA_Init(void)
{

  /* DMA controller clock enable */
  __HAL_RCC_DMA1_CLK_ENABLE();

  /* DMA interrupt init */
  /* DMA1_Channel2_IRQn interrupt configuration */
  HAL_NVIC_SetPriority(DMA1_Channel2_IRQn, 0, 0);
  HAL_NVIC_EnableIRQ(DMA1_Channel2_IRQn);
  /* DMA1_Channel3_IRQn interrupt configuration */
  HAL_NVIC_SetPriority(DMA1_Channel3_IRQn, 0, 0);
  HAL_NVIC_EnableIRQ(DMA1_Channel3_IRQn);

}

static void MX_GPIO_Init(void)
{

  /* GPIO Ports Clock Enable */
  __HAL_RCC_GPIOD_CLK_ENABLE();
  __HAL_RCC_GPIOA_CLK_ENABLE();

}

void Error_Handler(void)
{
  __disable_irq();
  while (1)
  {
  }
}
